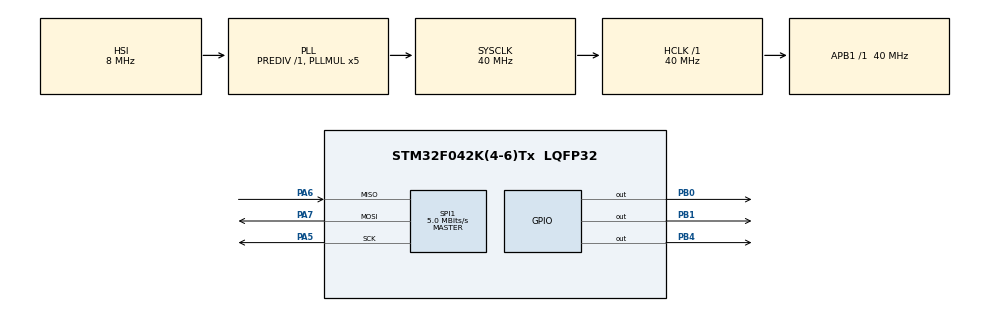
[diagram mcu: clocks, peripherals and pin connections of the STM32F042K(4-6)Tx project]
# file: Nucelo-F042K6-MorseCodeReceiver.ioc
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Mcu.Family=STM32F0
Mcu.Name=STM32F042K(4-6)Tx
Mcu.Package=LQFP32
PA13.GPIO_Label=SWDIO
PA13.Mode=Serial_Wire
PA13.Signal=SYS_SWDIO
PA14.GPIO_Label=SWCLK
PA14.Mode=Serial_Wire
PA14.Signal=SYS_SWCLK
PA15.GPIO_Label=VCP_RX
PA15.Signal=USART2_RX
PA2.GPIO_Label=VCP_TX
PA2.Signal=USART2_TX
PA5.Mode=Full_Duplex_Master
PA5.Signal=SPI1_SCK
PA6.Mode=Full_Duplex_Master
PA6.Signal=SPI1_MISO
PA7.Mode=Full_Duplex_Master
PA7.Signal=SPI1_MOSI
PB0.Signal=GPIO_Output
PB1.Signal=GPIO_Output
PB4.Signal=GPIO_Output
PF0-OSC_IN.GPIO_Label=MCO
PF0-OSC_IN.Mode=HSE-External-Clock-Source
PF0-OSC_IN.Signal=RCC_OSC_IN
ProjectManager.HeapSize=0x200
ProjectManager.StackSize=0x400
ProjectManager.TargetToolchain=STM32CubeIDE
RCC.AHBFreq_Value=40000000
RCC.APB1Freq_Value=40000000
RCC.APB1TimFreq_Value=40000000
RCC.HCLKFreq_Value=40000000
RCC.PLLMUL=RCC_PLL_MUL5
RCC.SYSCLKFreq_VALUE=40000000
RCC.SYSCLKSource=RCC_SYSCLKSOURCE_PLLCLK
SPI1.BaudRatePrescaler=SPI_BAUDRATEPRESCALER_8
SPI1.CalculateBaudRate=5.0 MBits/s
SPI1.DataSize=SPI_DATASIZE_8BIT
SPI1.Direction=SPI_DIRECTION_2LINES
SPI1.Mode=SPI_MODE_MASTER
SPI1.NSSPMode=SPI_NSS_PULSE_DISABLE
SPI1.VirtualType=VM_MASTER
board=NUCLEO-F042K6

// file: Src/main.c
/* USER CODE BEGIN Header */
/**
  ******************************************************************************
  * @file           : main.c
  * @brief          : Main program body
  ******************************************************************************
  * @attention
  *
  * Copyright (c) 2023 STMicroelectronics.
  * All rights reserved.
  *
  * This software is licensed under terms that can be found in the LICENSE file
  * in the root directory of this software component.
  * If no LICENSE file comes with this software, it is provided AS-IS.
  *
  ******************************************************************************
  */
/* USER CODE END Header */
#include "main.h"
#include "stdio.h"
#include "stdlib.h"
/* USER CODE BEGIN Includes */
#include "string.h"
#include "NRF24L01.h"
#include "array_functions.h"
#include "morseCode.h"

/* USER CODE END Includes */

SPI_HandleTypeDef hspi1;

void SystemClock_Config(void);
static void MX_GPIO_Init(void);
static void MX_SPI1_Init(void);

/* USER CODE BEGIN 0 */

uint8_t RxAddress[] = {0x00,0xDD,0xCC,0xBB,0xAA};
char *morse;

/* USER CODE END 0 */

int main(void)
{

  /* MCU Configuration--------------------------------------------------------*/

  /* Reset of all peripherals, Initializes the Flash interface and the Systick. */
  HAL_Init();

  /* Configure the system clock */
  SystemClock_Config();

  /* Initialize all configured peripherals */
  MX_GPIO_Init();
  MX_SPI1_Init();
  /* USER CODE BEGIN 2 */
  NRF24_Init();

  NRF24_RxMode(RxAddress, 10);

  /* USER CODE END 2 */

  /* Infinite loop */
  /* USER CODE BEGIN WHILE */

  HAL_GPIO_WritePin(GPIOB, GPIO_PIN_4, GPIO_PIN_SET);
  int beepRunning = 0;
  int beepComplete = 0;

  int packetLength = 32;

  while (1)
  {
	  /*
		PB0 is CE (Chip Enable)
		PB1 is CSN (Chip Select Not)
		PA8 is IRQ
		PA7 is MOSI input
		PA6 is MISO
		PA5 is SCK (System Clock)

		PB4 Buzzer output
	 */

	  // If the there is available data keep pushing it to the Morse array until the terminating character of five is included.
	  // Once 5 has been read convert the relevant parts of the stream to the MorseToSignal function which should output data from the buzzer
	  if (isDataAvailable(2) == 1){
		  uint8_t RxData[packetLength];
		  NRF24_Receive(RxData);

		  if(containsCharacter((char *)RxData, packetLength, '5')){
			  int index = findIndexChar('5', morse, strlen(morse));

			  morse = realloc(morse, strlen(morse) + (index * sizeof(char)) + 1);

			  // To add the last values to the end of the Morse array we create a points that points to it and then appends the RxData array up till
			  // the index of the Morse Terminating Character (5)
			  memcpy(morse + strlen(morse), RxData, index);

			  beepRunning = 1;
		  }else{
			  morse = realloc(morse, strlen(morse) + (packetLength * sizeof(char)) + 1);
		  	  strcat(morse, (char*)RxData);

		  	  //Sets final value of the Morse array to the string terminating character
		  	  morse[strlen(morse)] = '\0';
		  }

		  if(beepRunning == 1){
			  beepComplete = morseToSignal(morse, strlen(morse), GPIOB, GPIO_PIN_4);

			  if(beepComplete == 1){
				  beepRunning = 0;
			  }

		  }

	  }

    /* USER CODE END WHILE */

  }
}

void SystemClock_Config(void)
{
  RCC_OscInitTypeDef RCC_OscInitStruct = {0};
  RCC_ClkInitTypeDef RCC_ClkInitStruct = {0};

  /** Initializes the RCC Oscillators according to the specified parameters
  * in the RCC_OscInitTypeDef structure.
  */
  RCC_OscInitStruct.OscillatorType = RCC_OSCILLATORTYPE_HSI;
  RCC_OscInitStruct.HSIState = RCC_HSI_ON;
  RCC_OscInitStruct.HSICalibrationValue = RCC_HSICALIBRATION_DEFAULT;
  RCC_OscInitStruct.PLL.PLLState = RCC_PLL_ON;
  RCC_OscInitStruct.PLL.PLLSource = RCC_PLLSOURCE_HSI;
  RCC_OscInitStruct.PLL.PLLMUL = RCC_PLL_MUL5;
  RCC_OscInitStruct.PLL.PREDIV = RCC_PREDIV_DIV1;
  if (HAL_RCC_OscConfig(&RCC_OscInitStruct) != HAL_OK)
  {
    Error_Handler();
  }

  /** Initializes the CPU, AHB and APB buses clocks
  */
  RCC_ClkInitStruct.ClockType = RCC_CLOCKTYPE_HCLK|RCC_CLOCKTYPE_SYSCLK
                              |RCC_CLOCKTYPE_PCLK1;
  RCC_ClkInitStruct.SYSCLKSource = RCC_SYSCLKSOURCE_PLLCLK;
  RCC_ClkInitStruct.AHBCLKDivider = RCC_SYSCLK_DIV1;
  RCC_ClkInitStruct.APB1CLKDivider = RCC_HCLK_DIV1;

  if (HAL_RCC_ClockConfig(&RCC_ClkInitStruct, FLASH_LATENCY_1) != HAL_OK)
  {
    Error_Handler();
  }
}

static void MX_SPI1_Init(void)
{

  /* SPI1 parameter configuration*/
  hspi1.Instance = SPI1;
  hspi1.Init.Mode = SPI_MODE_MASTER;
  hspi1.Init.Direction = SPI_DIRECTION_2LINES;
  hspi1.Init.DataSize = SPI_DATASIZE_8BIT;
  hspi1.Init.CLKPolarity = SPI_POLARITY_LOW;
  hspi1.Init.CLKPhase = SPI_PHASE_1EDGE;
  hspi1.Init.NSS = SPI_NSS_SOFT;
  hspi1.Init.BaudRatePrescaler = SPI_BAUDRATEPRESCALER_8;
  hspi1.Init.FirstBit = SPI_FIRSTBIT_MSB;
  hspi1.Init.TIMode = SPI_TIMODE_DISABLE;
  hspi1.Init.CRCCalculation = SPI_CRCCALCULATION_DISABLE;
  hspi1.Init.CRCPolynomial = 7;
  hspi1.Init.CRCLength = SPI_CRC_LENGTH_DATASIZE;
  hspi1.Init.NSSPMode = SPI_NSS_PULSE_DISABLE;
  if (HAL_SPI_Init(&hspi1) != HAL_OK)
  {
    Error_Handler();
  }

}

static void MX_GPIO_Init(void)
{
  GPIO_InitTypeDef GPIO_InitStruct = {0};

  /* GPIO Ports Clock Enable */
  __HAL_RCC_GPIOF_CLK_ENABLE();
  __HAL_RCC_GPIOA_CLK_ENABLE();
  __HAL_RCC_GPIOB_CLK_ENABLE();

  /*Configure GPIO pin Output Level */
  HAL_GPIO_WritePin(GPIOB, GPIO_PIN_0|GPIO_PIN_1|GPIO_PIN_4, GPIO_PIN_RESET);

  /*Configure GPIO pins : VCP_TX_Pin VCP_RX_Pin */
  GPIO_InitStruct.Pin = VCP_TX_Pin|VCP_RX_Pin;
  GPIO_InitStruct.Mode = GPIO_MODE_AF_PP;
  GPIO_InitStruct.Pull = GPIO_NOPULL;
  GPIO_InitStruct.Speed = GPIO_SPEED_FREQ_HIGH;
  GPIO_InitStruct.Alternate = GPIO_AF1_USART2;
  HAL_GPIO_Init(GPIOA, &GPIO_InitStruct);

  /*Configure GPIO pins : PB0 PB1 PB4 */
  GPIO_InitStruct.Pin = GPIO_PIN_0|GPIO_PIN_1|GPIO_PIN_4;
  GPIO_InitStruct.Mode = GPIO_MODE_OUTPUT_PP;
  GPIO_InitStruct.Pull = GPIO_NOPULL;
  GPIO_InitStruct.Speed = GPIO_SPEED_FREQ_LOW;
  HAL_GPIO_Init(GPIOB, &GPIO_InitStruct);

}

void Error_Handler(void)
{
  __disable_irq();
  while (1)
  {
  }
}
